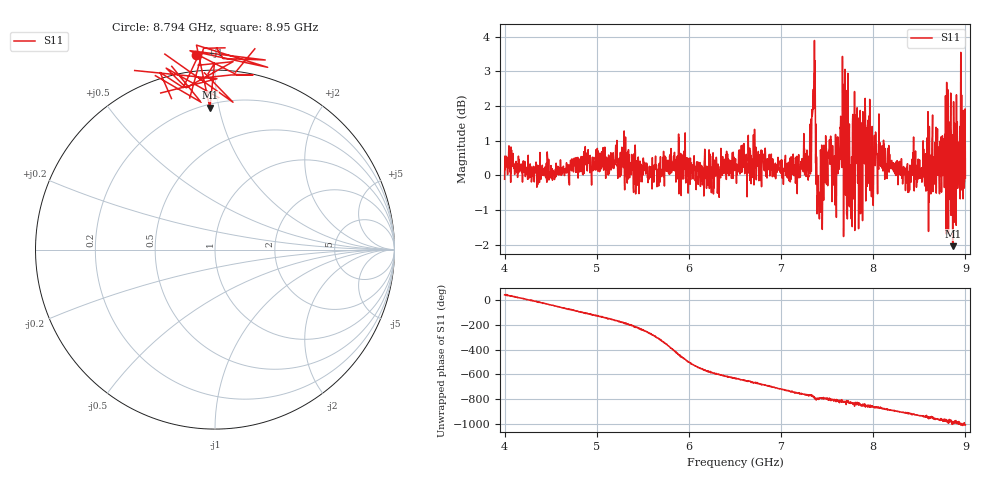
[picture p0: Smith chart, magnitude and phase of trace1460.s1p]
! Created with skrf 1.8.0 (http://scikit-rf.org).
# Hz S RI R 50.0
!freq ReS11 ImS11
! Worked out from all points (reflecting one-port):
!   1601 points, 4 GHz to 9 GHz, reference 50 ohm
!   lowest |S11| = -2.0 dB at 8.862 GHz (marker M1), VSWR 8.56, Z = 11.1 + j47 ohm
!   phase of S11 starts at 44 deg and turns -1054 deg over the sweep
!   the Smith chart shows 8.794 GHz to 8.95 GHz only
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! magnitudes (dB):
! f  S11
! 4 GHz  -0.1
! 4.625 GHz  0.1
! 5.25 GHz  0.0
! 5.875 GHz  0.2
! 6.5 GHz  0.3
! 7.125 GHz  0.3
! 7.294 GHz  -0.1
! 7.319 GHz  0.0
! 7.347 GHz  2.2
! 7.362 GHz  3.9
! 7.4 GHz  0.0
! 7.412 GHz  -1.0
! 7.509 GHz  0.6
! 7.575 GHz  -0.1
! 7.669 GHz  1.9
! 7.738 GHz  0.8
! 7.75 GHz  0.3
! 7.769 GHz  -0.1
! 7.812 GHz  0.3
! 7.866 GHz  0.7
! 7.928 GHz  1.3
! 7.981 GHz  -0.6
! 8.088 GHz  0.4
! 8.375 GHz  0.0
! 8.862 GHz  -2.0
! 8.906 GHz  0.0
! 8.972 GHz  0.7
! 9 GHz  -0.1
